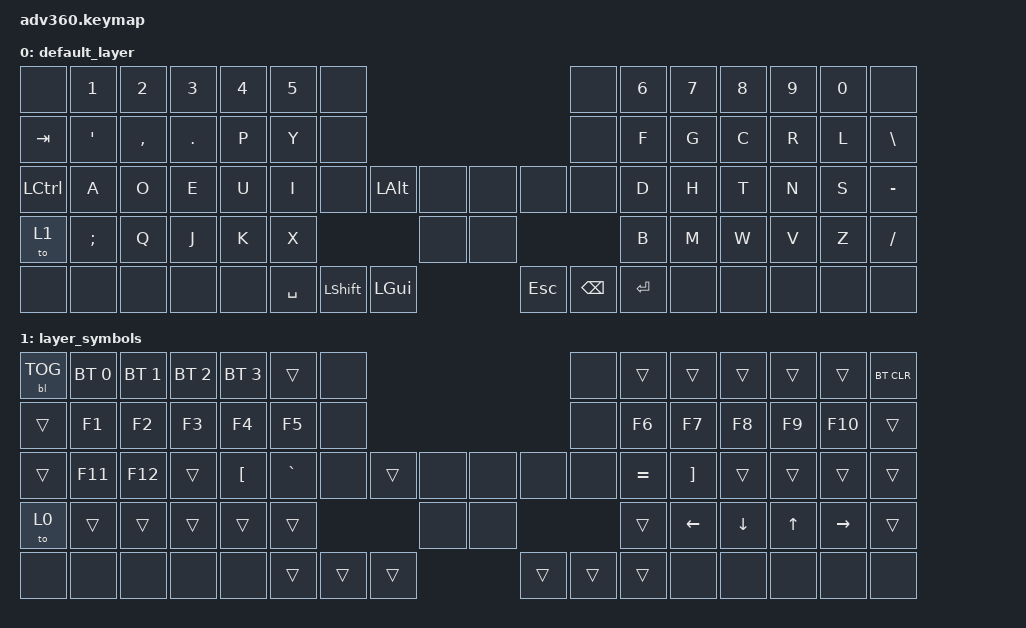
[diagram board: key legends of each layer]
#include <behaviors.dtsi>
#include <dt-bindings/zmk/keys.h>
#include <dt-bindings/zmk/bt.h>
#include <dt-bindings/zmk/rgb.h>
#include <dt-bindings/zmk/backlight.h>

/ {
    behaviors {
      #include "macros.dtsi"
      #include "version.dtsi"
      #ifndef VERSION_MACRO
      macro_ver: macro_ver {
        compatible = "zmk,behavior-macro";
        label = "macro_version";
        #binding-cells = <0>;
        bindings = <&kp RET>;
      };
      #endif

      hm: homerow_mods {
          compatible = "zmk,behavior-hold-tap";
          label = "HOMEROW_MODS";
          #binding-cells = <2>;
          tapping-term-ms = <200>;
          quick_tap_ms = <175>;
          flavor = "tap-preferred";
          bindings = <&kp>, <&kp>;
      };
    };

  keymap {
    compatible = "zmk,keymap";

    default_layer {
      bindings = <
        &none      &kp N1       &kp N2       &kp N3       &kp N4       &kp N5    &none                                                            &none &kp N6    &kp N7   &kp N8    &kp N9   &kp N0    &none
        &kp TAB    &kp SQT      &kp COMMA    &kp DOT      &kp P        &kp Y     &none                                                            &none &kp F     &kp G    &kp C     &kp R    &kp L     &kp BSLH
        &kp LCTRL  &kp A        &kp O        &kp E        &kp U        &kp I     &none           &kp LALT  &none    &none     &none               &none &kp D     &kp H    &kp T     &kp N    &kp S     &kp MINUS
        &to 1      &kp SEMI     &kp Q        &kp J        &kp K        &kp X                               &none    &none                               &kp B     &kp M    &kp W     &kp V    &kp Z     &kp FSLH
        &none      &none        &none        &none        &none                        &kp SPACE &kp LSHFT &kp LGUI &kp ESC   &kp BSPC  &kp ENTER                 &none    &none     &none    &none     &none
      >;
    };
    layer_symbols {
      bindings = <
        &bl BL_TOG &bt BT_SEL 0 &bt BT_SEL 1 &bt BT_SEL 2 &bt BT_SEL 3 &trans    &none                                                            &none &trans    &trans   &trans    &trans   &trans    &bt BT_CLR
        &trans     &kp F1       &kp F2       &kp F3       &kp F4       &kp F5    &none                                                            &none &kp F6    &kp F7   &kp F8    &kp F9   &kp F10   &trans
        &trans     &kp F11      &kp F12      &trans       &kp LBKT     &kp GRAVE &none           &trans    &none    &none     &none               &none &kp EQUAL &kp RBKT &trans    &trans   &trans    &trans
        &to 0      &trans       &trans       &trans       &trans       &trans                              &none    &none                               &trans    &kp LEFT &kp DOWN  &kp UP   &kp RIGHT &trans
        &none      &none        &none        &none        &none                        &trans    &trans    &trans   &trans    &trans    &trans                    &none    &none     &none    &none     &none
      >;
    };
  };
};
